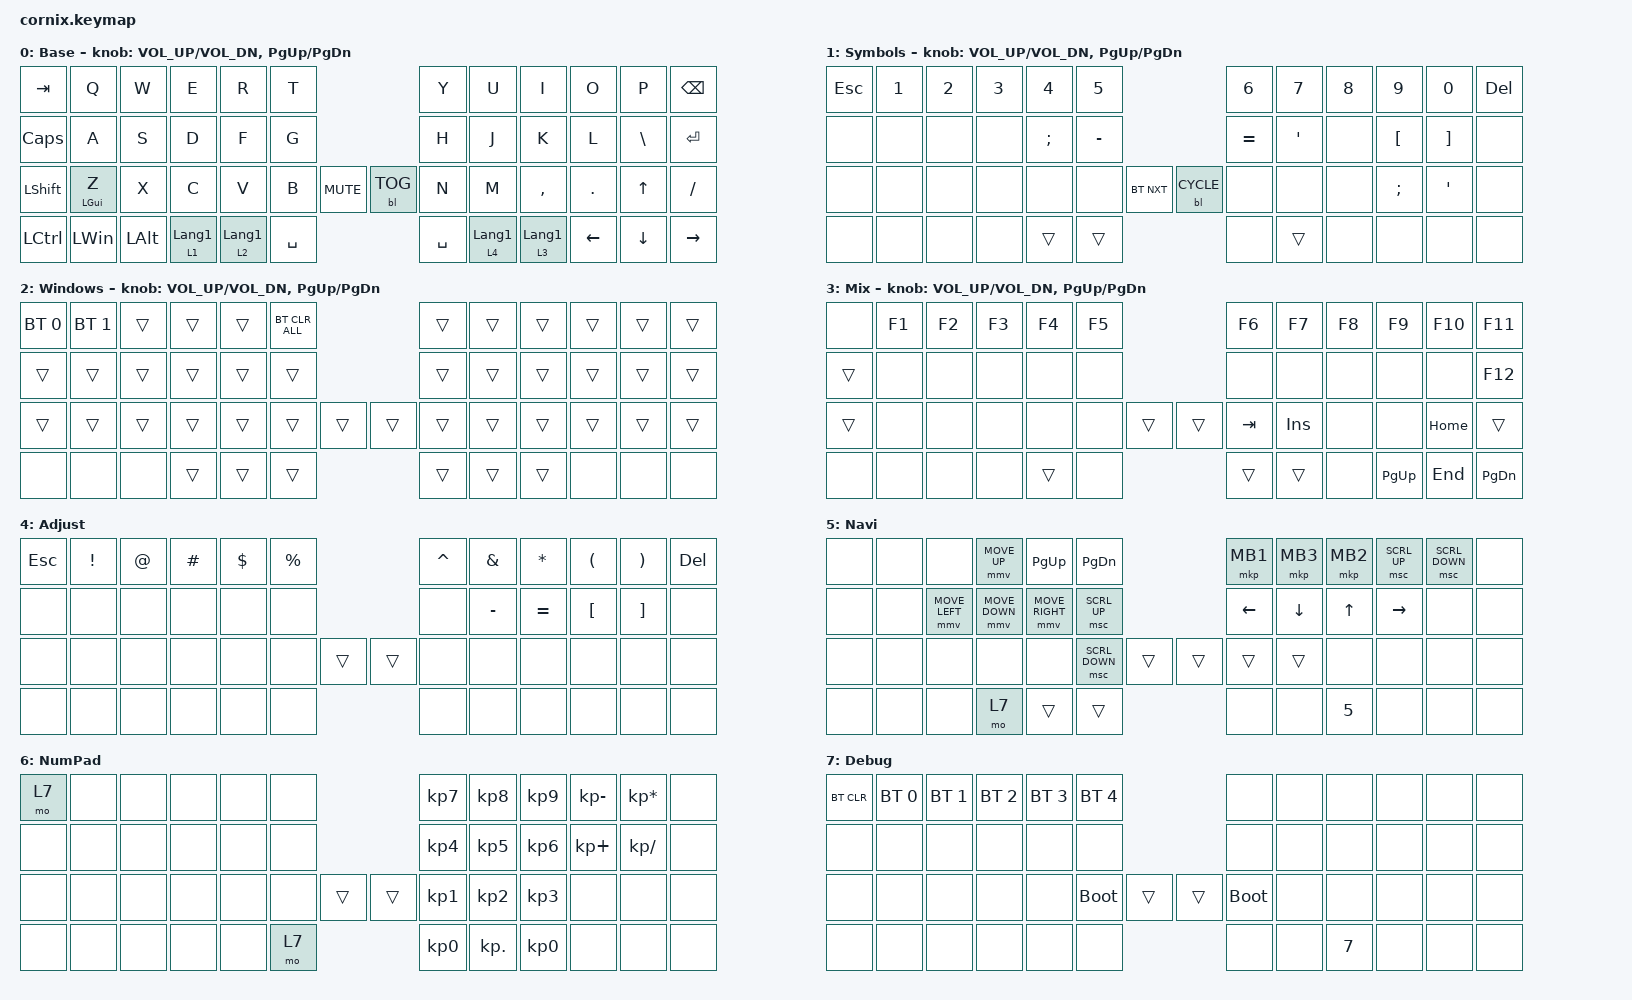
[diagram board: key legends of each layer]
/*
 * Copyright (c) 2020 The ZMK Contributors
 *
 * SPDX-License-Identifier: MIT
 */

#include "zmk-helpers/helper.h"
#include "includes/cornix54.h"

// tap windows for ctl alt and gui

#define HM_TAPPING_TERM 250
#define HM_TAPPING_REPEAT 210

// quick tapping for shift

#define HM_TAPPING_TERM_FAST 200
#define HM_PRIOR_IDLE 70
#define BASE 0
#define WIN 1
#define LOWER 2
#define RAISE 3
#define ADJUST 4
#define NAVI   5
#define NUM    6
#define DEBUG  7

// https://github.com/urob/zmk-config/tree/main#timeless-homerow-mods

#define KEYS_L LT0 LT1 LT2 LT3 LT4 LT5 LM0 LM1 LM2 LM3 LM4 LM5 LB0 LB1 LB2 LB3 LB4 LB5  // left hand
#define KEYS_R RT0 RT1 RT2 RT3 RT4 RT5 RM0 RM1 RM2 RM3 RM4 RM5 RB0 RB1 RB2 RB3 RB4 RB5  // right hand
#define THUMBS LH1 LH0 RH0 RH1
#define KEYS_T LH1 LH0 RH0 RH1
#define ZMK_POINTING_DEFAULT_SCRL_VAL 15

#include <behaviors.dtsi>
#include <dt-bindings/zmk/backlight.h>
#include <dt-bindings/zmk/bt.h>
#include <dt-bindings/zmk/keys.h>
#include <dt-bindings/zmk/pointing.h>

/ {
    // Activate ADJUST layer by pressing raise and lower

    behaviors {
        hm_l: homerow_mods_left {
            compatible = "zmk,behavior-hold-tap";
            #binding-cells = <2>;
            bindings = <&kp>, <&kp>;

            flavor = "balanced";
            tapping-term-ms = <HM_TAPPING_TERM>;
            quick-tap-ms = <200>;                // repeat on tap-into-hold
            require-prior-idle-ms = <HM_PRIOR_IDLE>;
            hold-trigger-key-positions = <KEYS_R KEYS_T>;
            hold-trigger-on-release;
        };

        hm_r: homerow_mods_right {
            compatible = "zmk,behavior-hold-tap";
            #binding-cells = <2>;
            bindings = <&kp>, <&kp>;

            flavor = "balanced";
            tapping-term-ms = <HM_TAPPING_TERM>;
            quick-tap-ms = <200>;
            require-prior-idle-ms = <HM_PRIOR_IDLE>;
            hold-trigger-key-positions = <KEYS_L KEYS_T>;
            hold-trigger-on-release;
        };

        // Positional Homerow mods for shift
        // Use faster tapping term and disable some features that may
        // cause false negatives.

        hm_shift_l: hm_shift_l {
            compatible = "zmk,behavior-hold-tap";
            #binding-cells = <2>;
            bindings = <&kp>, <&kp>;

            //flavor = "balanced";

            flavor = "balanced";
            tapping-term-ms = <HM_TAPPING_TERM_FAST>;
            quick-tap-ms = <200>;
            require-prior-idle-ms = <HM_PRIOR_IDLE>;
            hold-trigger-key-positions = <KEYS_R KEYS_T>;
            hold-trigger-on-release;
        };

        hm_shift_r: hm_shift_r {
            compatible = "zmk,behavior-hold-tap";
            #binding-cells = <2>;
            bindings = <&kp>, <&kp>;

            flavor = "balanced";
            tapping-term-ms = <HM_TAPPING_TERM_FAST>;
            quick-tap-ms = <200>;
            require-prior-idle-ms = <HM_PRIOR_IDLE>;
            hold-trigger-key-positions = <KEYS_L KEYS_T>;

            // for quick tapping; shift+~

            hold-trigger-on-release;
        };

        /*
         * Non-Positional Homerow Mods
         * Used for &mm_grescm_gui behavior on left hand.
         *
         * Usage: &hm LSHFT T
         * Tap: T
         * Tap-Tap-Hold: Repeat T
         * Hold: LSHIFT
         */

        hm: homerow_mods {
            compatible = "zmk,behavior-hold-tap";
            #binding-cells = <2>;
            bindings = <&kp>, <&kp>;

            flavor = "balanced";
            tapping-term-ms = <HM_TAPPING_TERM>;
            quick-tap-ms = <200>;
        };

        lt: layer_tap {
            compatible = "zmk,behavior-hold-tap";
            #binding-cells = <2>;
            bindings = <&mo>, <&kp>;

            flavor = "hold-preferred";
            tapping-term-ms = <HM_TAPPING_TERM>;
            quick-tap-ms = <200>;
        };
    };

    conditional_layers {
        compatible = "zmk,conditional-layers";

        adjust_layer {
            if-layers = <3 1>;
            then-layer = <4>;
        };
    };

    combos {
        compatible = "zmk,combos";

        lang1 {
            bindings = <&kp LANGUAGE_1>;
            key-positions = <38 43>;
        };
    };

    keymap {
        compatible = "zmk,keymap";

        default_layer {
            display-name = "Base";

            // ------------------------------------------------------------------------------------------------------------
            // |   `   |  1  |  2  |  3   |  4   |  5   |                   |  6   |  7    |  8    |  9   |   0   |       |
            // |  ESC  |  Q  |  W  |  E   |  R   |  T   |                   |  Y   |  U    |  I    |  O   |   P   | BKSPC |
            // |  TAB  |  A  |  S  |  D   |  F   |  G   |                   |  H   |  J    |  K    |  L   |   ;   |   '   |
            // | SHIFT |  Z  |  X  |  C   |  V   |  B   |  MUTE  |  |       |  N   |  M    |  ,    |  .   |   /   | SHIFT |
            //               | GUI | ALT  | CTRL | LOWER|  ENTER |  | SPACE | RAISE| CTRL  | ALT   | GUI  |

            bindings = <
&kp TAB         &kp Q         &kp W         &kp E             &kp R             &kp T                              &kp Y      &kp U             &kp I             &kp O     &kp P     &kp BACKSPACE
&kp CAPSLOCK    &kp A         &kp S         &kp D             &kp F             &kp G                              &kp H      &kp J             &kp K             &kp L     &kp BSLH  &kp ENTER
&kp LEFT_SHIFT  &hm_l LGUI Z  &kp X         &kp C             &kp V             &kp B      &kp K_MUTE  &bl BL_TOG  &kp N      &kp M             &kp COMMA         &kp DOT   &kp UP    &kp SLASH
&kp LCTRL       &kp LEFT_WIN  &kp LEFT_ALT  &lt 1 LANGUAGE_1  &lt 2 LANGUAGE_1  &kp SPACE                          &kp SPACE  &lt 4 LANGUAGE_1  &lt 3 LANGUAGE_1  &kp LEFT  &kp DOWN  &kp RIGHT
            >;

            sensor-bindings =
                <&inc_dec_kp C_VOL_UP C_VOL_DN>,
                <&inc_dec_kp PG_UP PG_DN>;
        };

        Symbol_layer {
            display-name = "Symbols";

            // TODO: Some binds are waiting for shifted keycode support.
            // -------------------------------
            // |       |  F1 |  F2 |  F3  |  F4  |  F5  |                   |  F6  |  F7   |  F8   |  F9  |  F10  |  F11  |
            // |   `   |  1  |  2  |  3   |  4   |  5   |                   |  6   |  7    |  8    |  9   |   0   |  F12  |
            // |       |  !  |  @  |  #   |  $   |  %   |                   |  ^   |  &    |  *    |  (   |   )   |   |   |
            // |       |  =  |  -  |  +   |  {   |  }   |        |  |       |  [   |  ]    |  ;    |  :   |   \   |       |
            //               |     |      |      |      |        |  |       |      |       |       |      |

            bindings = <
&kp ESC  &kp NUMBER_1  &kp NUMBER_2  &kp NUMBER_3  &kp NUMBER_4   &kp N5                               &kp NUMBER_6  &kp N7          &kp N8  &kp N9            &kp N0             &kp DELETE
&none    &none         &none         &none         &kp SEMICOLON  &kp MINUS                            &kp EQUAL     &kp APOSTROPHE  &none   &kp LEFT_BRACKET  &kp RIGHT_BRACKET  &none
&none    &none         &none         &none         &none          &none      &bt BT_NXT  &bl BL_CYCLE  &none         &none           &none   &kp SEMI          &kp SQT            &none
&none    &none         &none         &none         &trans         &trans                               &none         &trans          &none   &none             &none              &none
            >;

            sensor-bindings = <&inc_dec_kp C_VOL_UP C_VOL_DN &inc_dec_kp PG_UP PG_DN>;
        };

        win_layer {
            display-name = "Windows";

            // ------------------------------------------------------------------------------------------------------------
            // |   `   |  1  |  2  |  3   |  4   |  5   |                   |  6   |  7    |  8    |  9   |   0   |       |
            // |  ESC  |  Q  |  W  |  E   |  R   |  T   |                   |  Y   |  U    |  I    |  O   |   P   | BKSPC |
            // |  TAB  |  A  |  S  |  D   |  F   |  G   |                   |  H   |  J    |  K    |  L   |   ;   |   '   |
            // | SHIFT |  Z  |  X  |  C   |  V   |  B   |  MUTE  |  |       |  N   |  M    |  ,    |  .   |   /   | SHIFT |
            //               | GUI | ALT  | CTRL | LOWER|  ENTER |  | SPACE | RAISE| CTRL  | ALT   | GUI  |

            bindings = <
&bt BT_SEL 0  &bt BT_SEL 1  &trans  &trans  &trans  &bt BT_CLR_ALL                  &trans  &trans  &trans  &trans  &trans  &trans
&trans        &trans        &trans  &trans  &trans  &trans                          &trans  &trans  &trans  &trans  &trans  &trans
&trans        &trans        &trans  &trans  &trans  &trans          &trans  &trans  &trans  &trans  &trans  &trans  &trans  &trans
&none         &none         &none   &trans  &trans  &trans                          &trans  &trans  &trans  &none   &none   &none
            >;

            sensor-bindings = <&inc_dec_kp C_VOL_UP C_VOL_DN &inc_dec_kp PG_UP PG_DN>;
        };

        Mix_layer {
            display-name = "Mix";

            // ------------------------------------------------------------------------------------------------------------
            // | BTCLR | BT1  | BT2  |  BT3  |  BT4  |  BT5 |                |      |      |       |      |       |       |
            // |       | INS  | PSCR | GUI   |       |      |                | PGUP |      |   ^   |      |       |       |
            // |       | ALT  | CTRL | SHIFT |       | CAPS |                | PGDN |   <- |   v   |  ->  |  DEL  | BKSPC |
            // |       | UNDO | CUT  | COPY  | PASTE |      |      |  |      |      |      |       |      |       |       |
            //                |      |       |       |      |      |  |      |      |      |       |      |

            bindings = <
&none   &kp F1  &kp F2  &kp F3  &kp F4  &kp F5                  &kp F6   &kp F7   &kp F8  &kp F9     &kp F10   &kp F11
&trans  &none   &none   &none   &none   &none                   &none    &none    &none   &none      &none     &kp F12
&trans  &none   &none   &none   &none   &none   &trans  &trans  &kp TAB  &kp INS  &none   &none      &kp HOME  &trans
&none   &none   &none   &none   &trans  &none                   &trans   &trans   &none   &kp PG_UP  &kp END   &kp PAGE_DOWN
            >;

            sensor-bindings = <&inc_dec_kp C_VOL_UP C_VOL_DN &inc_dec_kp PG_UP PG_DN>;
        };

        Adjust_layer {
            display-name = "Adjust";

            // ----------------------------------------------------------------------------------------------------------------------------
            // | BTCLR  |  BT1    |  BT2    |   BT3   |   BT4   |   BT5   |                  |      |      |       |      |       |       |
            // | moDEBUG| RGB_HUD | RGB_HUI | RGB_SAD | RGB_SAI | RGB_EFF |                  |      |      |       |      |       |       |
            // | EXTPWR | RGB_BRD | RGB_BRI |         |         |         |                  |      |      |       |      |       |       |
            // |        |         |         |         |         |         | RGB_TOG | |      |      |      |       |      |       |       |
            //                    |         |         |         |         |         | |      |      |      |       |      |

            bindings = <
&kp ESC  &kp EXCLAMATION  &kp AT_SIGN  &kp HASH  &kp DOLLAR  &kp PERCENT                  &kp CARET  &kp AMPERSAND  &kp ASTERISK  &kp LEFT_PARENTHESIS  &kp RIGHT_PARENTHESIS  &kp DEL
&none    &none            &none        &none     &none       &none                        &none      &kp MINUS      &kp EQUAL     &kp LEFT_BRACKET      &kp RIGHT_BRACKET      &none
&none    &none            &none        &none     &none       &none        &trans  &trans  &none      &none          &none         &none                 &none                  &none
&none    &none            &none        &none     &none       &none                        &none      &none          &none         &none                 &none                  &none
            >;
        };

        Navi_layer {
            display-name = "Navi";
            bindings = <
&none  &none  &none           &mmv MOVE_UP    &kp PAGE_UP      &kp PAGE_DOWN                   &mkp MB1  &mkp MB3  &mkp MB2  &msc SCRL_UP  &msc SCRL_DOWN  &none
&none  &none  &mmv MOVE_LEFT  &mmv MOVE_DOWN  &mmv MOVE_RIGHT  &msc SCRL_UP                    &kp LEFT  &kp DOWN  &kp UP    &kp RIGHT     &none           &none
&none  &none  &none           &none           &none            &msc SCRL_DOWN  &trans  &trans  &trans    &trans    &none     &none         &none           &none
&none  &none  &none           &mo 7           &trans           &trans                          &none     &none     &kp N5    &none         &none           &none
            >;
        };

        KeyPad_layer {
            display-name = "NumPad";
            bindings = <
&mo 7  &none  &none  &none  &none  &none                  &kp KP_N7        &kp KP_N8        &kp KP_N9        &kp KP_MINUS  &kp KP_MULTIPLY  &none
&none  &none  &none  &none  &none  &none                  &kp KP_NUMBER_4  &kp KP_NUMBER_5  &kp KP_N6        &kp KP_PLUS   &kp KP_DIVIDE    &none
&none  &none  &none  &none  &none  &none  &trans  &trans  &kp KP_NUMBER_1  &kp KP_NUMBER_2  &kp KP_N3        &none         &none            &none
&none  &none  &none  &none  &none  &mo 7                  &kp KP_N0        &kp KP_DOT       &kp KP_NUMBER_0  &none         &none            &none
            >;
        };

        Debug_layer {
            display-name = "Debug";

            // ----------------------------------------------------------------------------------------------------------------------------
            // | BTCLR  |  BT1    |  BT2    |   BT3   |   BT4   |   BT5   |                  |      |      |       |      |       |       |
            // | EXTPWR | BTCLR | RGB_HUI | RGB_SAD | RGB_SAI | RGB_EFF |                  |      |      |       |      |       |       |
            // |        | RGB_BRD | RGB_BRI |         |         |         |                  |      |      |       |      |       |       |
            // |        |         |         |         |         |         | RGB_TOG | |      |      |      |       |      |       |       |
            //                    |         |         |         |         |         | |      |      |      |       |      |

            bindings = <
&bt BT_CLR  &bt BT_SEL 0  &bt BT_SEL 1  &bt BT_SEL 2  &bt BT_SEL 3  &bt BT_SEL 4                  &none        &none  &none   &none  &none  &none
&none       &none         &none         &none         &none         &none                         &none        &none  &none   &none  &none  &none
&none       &none         &none         &none         &none         &bootloader   &trans  &trans  &bootloader  &none  &none   &none  &none  &none
&none       &none         &none         &none         &none         &none                         &none        &none  &kp N7  &none  &none  &none
            >;
        };
    };
};
